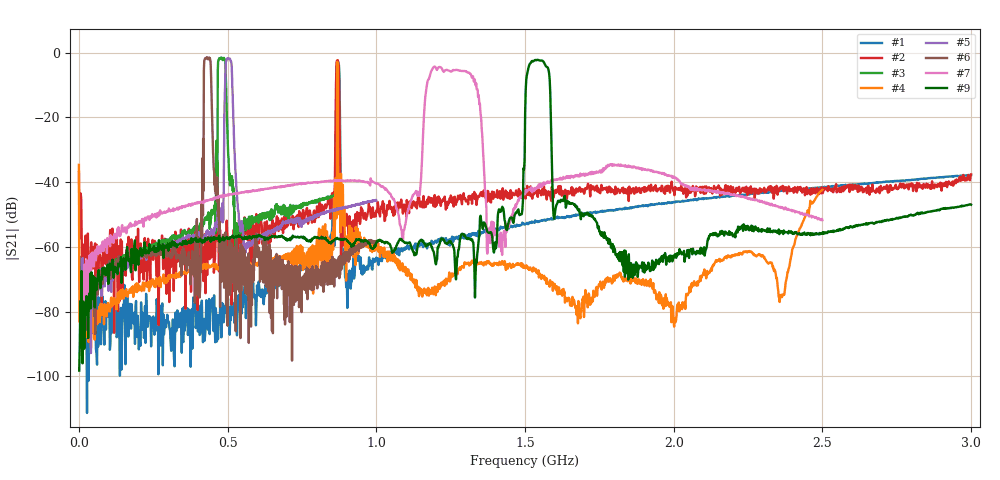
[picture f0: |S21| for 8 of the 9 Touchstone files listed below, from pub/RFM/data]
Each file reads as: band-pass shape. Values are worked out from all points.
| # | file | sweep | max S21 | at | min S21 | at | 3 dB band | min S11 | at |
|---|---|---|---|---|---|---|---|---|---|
| 1 | sf2415e-1_wide.s2p | 1 MHz to 3 GHz | -2.62 dB | 870.7 MHz | -111.4 dB | 27.24 MHz | 867 MHz-874.5 MHz | -39.5 dB | 868.8 MHz |
| 2 | sf2415e_w.s2p | 100 kHz to 3 GHz | -2.33 dB | 870.1 MHz | -86.6 dB | 118.2 MHz | 866.3 MHz-873.8 MHz | -28.1 dB | 870.1 MHz |
| 3 | sf2423d_w.s2p | 80 MHz to 880 MHz | -1.49 dB | 478 MHz | -71.3 dB | 80 MHz | 467.5 MHz-492.5 MHz | -25.4 dB | 468.5 MHz |
| 4 | sf2425e_w.s2p | 9 kHz to 2.5 GHz | -2.84 dB | 868.8 MHz | -93.6 dB | 10.95 MHz | 868.8 MHz-868.8 MHz | -15.0 dB | 868.8 MHz |
| 5 | sf2431d_w.s2p | 10 MHz to 1 GHz | -1.76 dB | 498.8 MHz | -92.8 dB | 40.32 MHz | 493.2 MHz-513.7 MHz | -35.1 dB | 498.2 MHz |
| 6 | sf2446e_w.s2p | 10 MHz to 1 GHz | -1.44 dB | 430.8 MHz | -95.2 dB | 716.6 MHz | 420.9 MHz-443.1 MHz | -31.2 dB | 429.5 MHz |
| 7 | sf2460h_wide.s2p | 10 MHz to 2.5 GHz | -4.32 dB | 1.196 GHz | -87.1 dB | 16.23 MHz | 1.18 GHz-1.319 GHz | -20.6 dB | 1.188 GHz |
| 8 | sf2463h_w.s2p | 300 kHz to 3 GHz | -1.02 dB | 1.571 GHz | -100.2 dB | 9.674 MHz | 1.549 GHz-1.618 GHz | -47.2 dB | 1.571 GHz |
| 9 | sf2467h_w.s2p | 1 MHz to 3 GHz | -2.24 dB | 1.544 GHz | -98.3 dB | 1 MHz | 1.512 GHz-1.577 GHz | -32.6 dB | 1.521 GHz |
